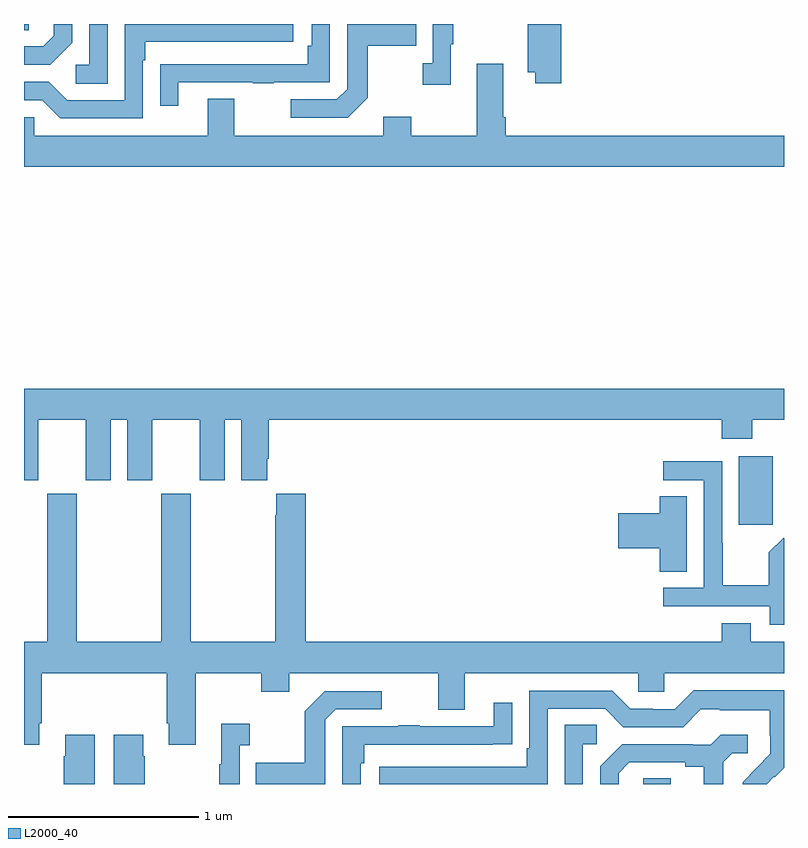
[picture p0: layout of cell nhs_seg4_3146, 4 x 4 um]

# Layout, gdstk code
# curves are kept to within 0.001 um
import gdstk
lib = gdstk.Library(unit=1e-6, precision=1e-09)
def R(c, l, rs):  # rectangles x0, y0, x1, y1
    for r in rs: c.add(gdstk.rectangle(r[:2], r[2:], *l))
def P(c, l, *ps):  # polygons
    for p in ps: c.add(gdstk.Polygon(p, *l))
L2000_40 = (2000, 40)

nhs_seg4_3146 = lib.new_cell('nhs_seg4_3146')
R(nhs_seg4_3146, L2000_40, [(280.26,798.9,280.405,798.929), (280.763,800.265,280.942,800.626), (277,802.867,277.026,802.9)])
P(nhs_seg4_3146, L2000_40, [(277.254,802.802),(277.254,802.9),(277.157,802.9),(277.157,802.839),(277.1,802.782),(277,802.782),(277,802.686),(277.138,802.686)],
  [(278.809,802.513),(278.809,802.786),(279.065,802.786),(279.065,802.9),(278.7,802.9),(278.7,802.557),(278.646,802.503),(278.403,802.503),(278.403,802.407),(278.703,802.407)],
  [(277.626,802.709),(277.639,802.709),(277.639,802.806),(278.416,802.806),(278.416,802.9),(277.53,802.9),(277.53,802.5),(277.227,802.5),(277.131,802.596),(277,802.596),(277,802.5),(277.095,802.5),(277.191,802.404),(277.626,802.404)],
  [(279.247,802.793),(279.259,802.793),(279.259,802.9),(279.15,802.9),(279.15,802.694),(279.099,802.694),(279.099,802.581),(279.247,802.581)],
  [(277.44,802.9),(277.344,802.9),(277.344,802.686),(277.272,802.686),(277.272,802.585),(277.44,802.585)],
  [(277.813,802.593),(278.203,802.593),(278.203,802.588),(278.315,802.588),(278.315,802.593),(278.61,802.593),(278.61,802.9),(278.514,802.9),(278.514,802.786),(278.494,802.786),(278.494,802.689),(277.819,802.689),(277.819,802.688),(277.717,802.688),(277.717,802.47),(277.813,802.47)],
  [(279.827,802.9),(279.652,802.9),(279.652,802.646),(279.692,802.646),(279.692,802.587),(279.827,802.587)],
  [(281,802.312),(279.536,802.312),(279.536,802.408),(279.523,802.408),(279.523,802.69),(279.383,802.69),(279.383,802.312),(279.039,802.312),(279.039,802.411),(278.891,802.411),(278.891,802.312),(278.107,802.312),(278.107,802.507),(277.967,802.507),(277.967,802.312),(277.053,802.312),(277.053,802.41),(277,802.41),(277,802.148),(281,802.148)],
  [(277.075,800.816),(277.325,800.816),(277.325,800.499),(277.456,800.499),(277.456,800.816),(277.544,800.816),(277.544,800.499),(277.675,800.499),(277.675,800.816),(277.925,800.816),(277.925,800.499),(278.056,800.499),(278.056,800.816),(278.144,800.816),(278.144,800.499),(278.281,800.499),(278.281,800.611),(278.288,800.611),(278.288,800.816),(280.673,800.816),(280.673,800.717),(280.833,800.717),(280.833,800.816),(281,800.816),(281,800.98),(277,800.98),(277,800.499),(277.075,800.499)],
  [(281,800.194),(280.998,800.196),(280.921,800.119),(280.921,799.945),(280.677,799.945),(280.677,800.168),(280.674,800.168),(280.674,800.598),(280.365,800.598),(280.365,800.499),(280.578,800.499),(280.578,799.932),(280.365,799.932),(280.365,799.836),(280.926,799.836),(280.926,799.739),(281,799.739)],
  [(277.878,800.428),(277.723,800.428),(277.723,799.648),(277.278,799.648),(277.278,800.428),(277.123,800.428),(277.123,799.648),(277,799.648),(277,799.107),(277.081,799.107),(277.081,799.219),(277.094,799.219),(277.094,799.484),(277.751,799.484),(277.751,799.219),(277.763,799.219),(277.763,799.107),(277.903,799.107),(277.903,799.484),(278.248,799.484),(278.248,799.385),(278.395,799.385),(278.395,799.484),(279.179,799.484),(279.179,799.29),(279.319,799.29),(279.319,799.484),(280.233,799.484),(280.233,799.386),(280.371,799.386),(280.371,799.484),(281,799.484),(281,799.648),(280.825,799.648),(280.825,799.747),(280.673,799.747),(280.673,799.648),(278.483,799.648),(278.483,800.428),(278.327,800.428),(278.327,800.315),(278.323,800.315),(278.323,799.648),(277.878,799.648)],
  [(280.489,800.414),(280.346,800.414),(280.346,800.324),(280.128,800.324),(280.128,800.141),(280.346,800.141),(280.346,800.017),(280.489,800.017)],
  [(279.756,799.296),(280.059,799.296),(280.155,799.2),(280.47,799.2),(280.563,799.293),(280.663,799.293),(280.663,799.289),(280.926,799.289),(280.926,799.155),(280.928,799.155),(280.928,799.058),(280.782,798.91),(280.782,798.9),(280.908,798.9),(280.947,798.939),(280.95,798.936),(281,798.986),(281,799.393),(280.525,799.393),(280.425,799.293),(280.31,799.293),(280.31,799.296),(280.191,799.296),(280.095,799.392),(279.66,799.392),(279.66,799.087),(279.647,799.087),(279.647,798.99),(278.871,798.99),(278.871,798.9),(279.756,798.9)],
  [(278.586,799.239),(278.64,799.293),(278.884,799.293),(278.884,799.389),(278.583,799.389),(278.478,799.283),(278.478,799.011),(278.221,799.011),(278.221,798.9),(278.586,798.9)],
  [(278.772,799.01),(278.792,799.01),(278.792,799.107),(279.467,799.107),(279.467,799.108),(279.569,799.108),(279.569,799.327),(279.473,799.327),(279.473,799.203),(279.083,799.203),(279.083,799.208),(278.971,799.208),(278.971,799.203),(278.676,799.203),(278.676,798.9),(278.772,798.9)],
  [(278.136,799.103),(278.188,799.103),(278.188,799.216),(278.039,799.216),(278.039,799.003),(278.028,799.003),(278.028,798.9),(278.136,798.9)],
  [(279.942,799.11),(280.015,799.11),(280.015,799.211),(279.846,799.211),(279.846,798.9),(279.942,798.9)],
  [(277.635,799.046),(277.627,799.046),(277.627,799.159),(277.472,799.159),(277.472,798.9),(277.635,798.9)],
  [(277.372,799.159),(277.217,799.159),(277.217,799.046),(277.21,799.046),(277.21,798.9),(277.372,798.9)],
  [(280.129,798.957),(280.186,799.014),(280.481,799.014),(280.481,798.992),(280.577,798.992),(280.577,798.9),(280.681,798.9),(280.681,799.015),(280.728,799.062),(280.81,799.062),(280.81,799.159),(280.666,799.159),(280.614,799.107),(280.52,799.107),(280.52,799.11),(280.148,799.11),(280.032,798.994),(280.032,798.9),(280.129,798.9)])

lib.write_gds('nhs_seg4_3146.gds')
